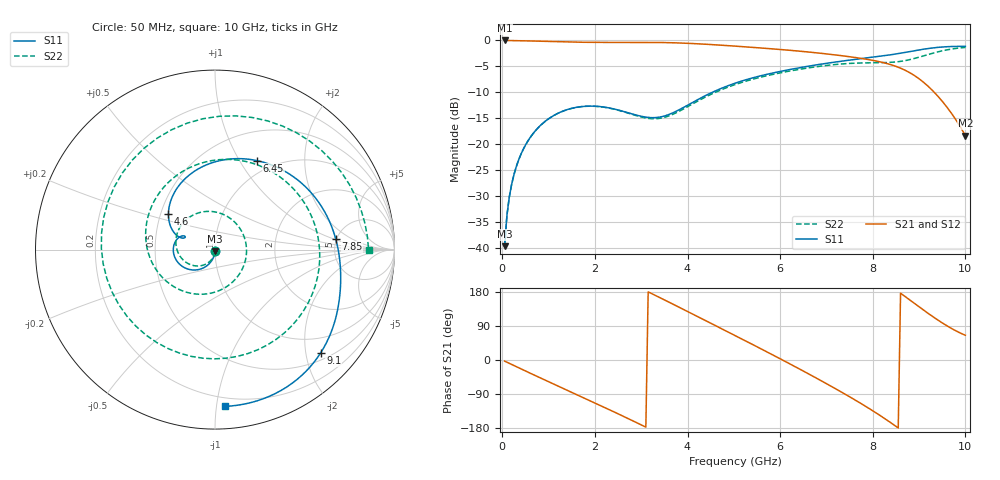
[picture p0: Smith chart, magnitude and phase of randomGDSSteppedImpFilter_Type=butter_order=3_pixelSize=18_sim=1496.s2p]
! freq	dB(S11)	phase(S11)	dB(S12)	phase(S12)
!  dB(S21)	phase(S21)	dB(S22)	phase(S22)
!S-par simulation data
#  GHz  S  DB  R 50
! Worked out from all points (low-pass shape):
!   200 points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, 50 MHz to 10 GHz, reference 50 ohm
!   highest |S21| = -0.01 dB at 50 MHz (marker M1); lowest = -18.4 dB at 10 GHz (marker M2)
!   |S21| within 3 dB of the highest: start of sweep to 7.38 GHz
!   lowest |S11| = -39.7 dB at 50 MHz (marker M3), VSWR 1.02, Z = 50 - j1.03 ohm
!   |S11| at or under -10 dB: start of sweep to 4.538 GHz
!   |S22| runs from -39.7 to -1.4 dB; largest |S21 - S12| = 0
!   S11 on the Smith chart (normalised r, x): 50 MHz: 1.00, -0.02; 4.6 GHz: 0.55, +0.24; 6.45 GHz: 0.84, +1.19; 7.85 GHz: 4.92, +1.07; 9.1 GHz: 0.64, -2.30; 10 GHz: 0.14, -1.05
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0.05  -39.70 -91.4  -0.01 -3.0  -0.01 -3.0  -39.70 -92.1
0.1  -33.77 -94.5  -0.01 -5.9  -0.01 -5.9  -33.78 -95.9
0.2  -27.84 -100.1  -0.03 -11.7  -0.03 -11.7  -27.85 -103.0
0.5  -20.21 -115.7  -0.08 -28.9  -0.08 -28.9  -20.22 -123.0
1.15  -14.29 -147.3  -0.25 -65.8  -0.25 -65.8  -14.31 -165.7
1.75  -12.73 -173.4  -0.36 -99.4  -0.36 -99.4  -12.75 153.3
2.65  -13.78 158.9  -0.37 -150.6  -0.37 -150.6  -13.85 79.1
3.4  -14.79 159.0  -0.40 164.8  -0.40 164.8  -15.03 -10.1
4.05  -12.26 157.9  -0.58 124.9  -0.58 124.9  -12.55 -89.2
4.6  -9.75 142.8  -0.85 91.0  -0.85 91.0  -10.02 -142.3
5.05  -8.18 125.6  -1.11 63.1  -1.11 63.1  -8.45 179.1
5.75  -6.46 95.6  -1.57 19.2  -1.57 19.2  -6.74 121.3
6.45  -5.22 64.7  -2.10 -25.9  -2.10 -25.9  -5.53 62.0
6.7  -4.84 53.7  -2.31 -42.3  -2.31 -42.3  -5.18 40.1
7.3  -4.03 27.7  -2.92 -83.0  -2.92 -83.0  -4.56 -15.1
7.85  -3.41 5.0  -3.61 -122.6  -3.61 -122.6  -4.33 -72.5
8.35  -2.82 -14.3  -4.57 -162.2  -4.57 -162.2  -4.25 -135.9
8.75  -2.23 -29.7  -5.99 162.9  -5.99 162.9  -3.80 163.9
9.1  -1.69 -44.4  -8.10 131.5  -8.10 131.5  -2.97 109.8
9.45  -1.31 -60.3  -11.21 101.8  -11.21 101.8  -2.11 61.3
9.75  -1.16 -74.5  -14.72 79.9  -14.72 79.9  -1.60 25.8
10  -1.16 -86.5  -18.37 65.3  -18.37 65.3  -1.35 -0.1
